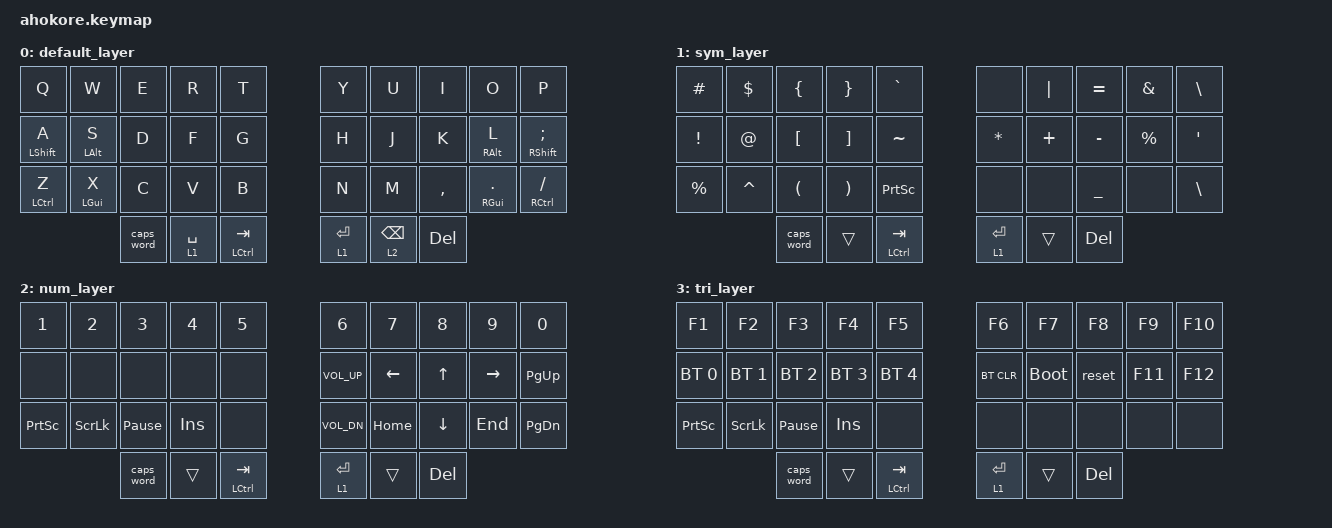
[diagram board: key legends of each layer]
/*
 * Copyright (c) 2020 The ZMK Contributors
 *
 * SPDX-License-Identifier: MIT
 */

#include <behaviors.dtsi>
#include <dt-bindings/zmk/keys.h>
#include <dt-bindings/zmk/bt.h>

/ {

    conditional_layers {
        compatible = "zmk,conditional-layers";
        tri_layer {
            if-layers = <1 2>;
            then-layer = <3>;
        };
    };

    behaviors {
        hm: homerow_mods {
            compatible = "zmk,behavior-hold-tap";
            label = "HOMEROW_MODS";
            #binding-cells = <2>;
            tapping_term_ms = <300>;
            flavor = "tap-preferred";
            bindings = <&kp>, <&kp>;
        };

        th: thumb_layers {
            compatible = "zmk,behavior-hold-tap";
            label = "THUMB_LAYERS";
            #binding-cells = <2>;
            tapping_term_ms = <300>;
            flavor = "tap-preferred";
            bindings = <&kp>, <&mo>;
            quick-tap-ms = <200>;
        };

        combos {
            // ,-----------------------------.      ,-----------------------------.
            // |     |    Esc    |     |     |      |     |     |   Eql     |     |
            // |-----+-----+-----+-Up--+VolU-|      |-------Up--------------------|
            // |     |    Tab   Lft   Rgt    |      |    Lft   Rgt  Mins    |     |
            // |-----+-----+-----+-Dwn-+VolD-+      |-Quot--Dwn-------------------|
            // |     |    Undo   |     |     |      |    Quot   |   Unds    |     |
            // `-----+-----+-----+-----+-----'      `-----------------------------'
            compatible = "zmk,combos";

            combo_esc {
                timeout-ms = <30>;
                key-positions = <1 2>;
                bindings = <&kp ESC>;
                layers = <0>;
            };

            combo_tab {
                timeout-ms = <30>;
                key-positions = <11 12>;
                bindings = <&kp TAB>;
                layers = <0>;
            };

            combo_undo {
                timeout-ms = <30>;
                key-positions = <21 22>;
                bindings = <&kp LC(Z)>;
                layers = <0>;
            };

            combo_vol_up {
                timeout-ms = <30>;
                key-positions = <4 14>;
                bindings = <&kp C_VOL_UP>;
                layers = <0>;
            };

            combo_vol_down {
                timeout-ms = <30>;
                key-positions = <14 24>;
                bindings = <&kp C_VOL_DN>;
                layers = <0>;
            };

            combo_lh_left {
                timeout-ms = <30>;
                key-positions = <12 13>;
                bindings = <&kp LEFT>;
                layers = <0>;
            };

            combo_lh_right {
                timeout-ms = <30>;
                key-positions = <13 14>;
                bindings = <&kp RIGHT>;
                layers = <0>;
            };

            combo_lh_up {
                timeout-ms = <30>;
                key-positions = <3 13>;
                bindings = <&kp UP>;
                layers = <0>;
            };

            combo_lh_down {
                timeout-ms = <30>;
                key-positions = <13 23>;
                bindings = <&kp DOWN>;
                layers = <0>;
            };

            combo_rh_left {
                timeout-ms = <30>;
                key-positions = <15 16>;
                bindings = <&kp LEFT>;
                layers = <0>;
            };

            combo_rh_right {
                timeout-ms = <30>;
                key-positions = <16 17>;
                bindings = <&kp RIGHT>;
                layers = <0>;
            };

            combo_rh_up {
                timeout-ms = <30>;
                key-positions = <6 16>;
                bindings = <&kp UP>;
                layers = <0>;
            };

            combo_rh_down {
                timeout-ms = <30>;
                key-positions = <16 26>;
                bindings = <&kp DOWN>;
                layers = <0>;
            };

            combo_equal {
                timeout-ms = <30>;
                key-positions = <7 8>;
                bindings = <&kp EQUAL>;
                layers = <0>;
            };

            combo_minus {
                timeout-ms = <30>;
                key-positions = <17 18>;
                bindings = <&kp MINUS>;
                layers = <0>;
            };

            combo_underscore {
                timeout-ms = <30>;
                key-positions = <27 28>;
                bindings = <&kp UNDER>;
                layers = <0>;
            };

            combo_quote_1 {
                timeout-ms = <30>;
                key-positions = <18 19>;
                bindings = <&kp SQT>;
                layers = <0>;
            };

            // Legacy
            combo_quote_2 {
                timeout-ms = <30>;
                key-positions = <15 25>;
                bindings = <&kp SQT>;
                layers = <0>;
            };
            
        };
    };

    keymap {
        compatible = "zmk,keymap";

        default_layer {
            // -----------------------------------------------------------------------------------------
            // |  Q  |  W  |  E  |  R  |  T  |  Y  |  U   |  I  |  O  |  P  |
            // |  A  |  S  |  D  |  F  |  G  |  H  |  J   |  K  |  L  |  ;  |
            // |  Z  |  X  |  C  |  V  |  B  |  N  |  M   |  ,  |  .  |  /  |
            //             | CTL | SPC | TAB | RET | BSPC | DEL |

            bindings = <
                &kp Q           &kp W       &kp E       &kp R       &kp T           &kp Y       &kp U       &kp I       &kp O           &kp P
                &hm LSHFT A     &hm LALT S  &kp D       &kp F       &kp G           &kp H       &kp J       &kp K       &hm RALT L      &hm RSHFT SEMI
                &hm LCTRL Z     &hm LGUI X  &kp C       &kp V       &kp B           &kp N       &kp M       &kp COMMA   &hm RGUI DOT    &hm RCTRL FSLH
                                            &caps_word  &lt 1 SPC   &hm LCTRL TAB   &lt 1 RET   &lt 2 BSPC  &kp DEL
            >;
        };
        
        sym_layer {
            // -----------------------------------------------------------------------------------------
            // |  #  |  $  |  {  |  }  |  `  |     |  |  |  =  |  &  |  \  |
            // |  !  |  @  |  (  |  )  |  ~  |  *  |  +  |  -  |  %  |  '  |
            // |  %  |  ^  |  [  |  ]  |PSCRN|     |     |  _  |     |  \  |
            //             | CTL |     | TAB | SPC |     | DEL |
            bindings = <
                &kp HASH        &kp DLLR    &kp LBRC    &kp RBRC    &kp GRAVE       &none       &kp PIPE    &kp EQUAL   &kp AMPS    &kp BSLH
                &kp EXCL        &kp AT      &kp LBKT    &kp RBKT    &kp TILDE       &kp STAR    &kp PLUS    &kp MINUS   &kp PRCNT   &kp SQT
                &kp PRCNT       &kp CARET   &kp LPAR    &kp RPAR    &kp PSCRN       &none       &none       &kp UNDER   &none       &kp BSLH
                                            &caps_word  &trans      &hm LCTRL TAB   &lt 1 RET   &trans      &kp DEL
            >;
        };

        num_layer {
            // -----------------------------------------------------------------------------------------
            // |     |  7  |  8  |  9  |     |      |      |  UP  |       |      |
            // |  0  |  4  |  5  |  6  |  .  | PGUP | LEFT | DOWN | RIGHT | PGUP |
            // |     |  1  |  2  |  3  |     | PGDN | HOME | MENU |  END  | PGDN |
            //             | CTL |     | TAB |  SPC |      |  DEL |
            bindings=<
                &kp N1          &kp N2      &kp N3      &kp N4      &kp N5          &kp N6         &kp N7      &kp N8      &kp N9      &kp N0
                &none           &none       &none       &none       &none           &kp C_VOL_UP   &kp LEFT    &kp UP      &kp RIGHT   &kp PG_UP
                &kp PSCRN       &kp SLCK    &kp PAUSE_BREAK &kp INS &none           &kp C_VOL_DN   &kp HOME    &kp DOWN    &kp END     &kp PG_DN
                                            &caps_word  &trans      &hm LCTRL TAB   &lt 1 RET      &trans      &kp DEL
            >;
        };

        tri_layer {
            // -----------------------------------------------------------------------------------------
            // | BT0 | BT1 | BT2 | BT3 | BT4 |     |  F7  |  F8  |  F9  |  F10  |
            // |RESET|BOOT |     |     |BTCLR|RESET|  F4  |  F5  |  F6  |  F11  |
            // |PSCRN|SLCK |PSBRK| INS |     |     |  F1  |  F2  |  F3  |  F12  |
            //             | CTL |     | TAB | SPC |      |  DEL |
            bindings=<
                &kp F1          &kp F2          &kp F3          &kp F4          &kp F5              &kp F6          &kp F7      &kp F8      &kp F9      &kp F10
                &bt BT_SEL 0    &bt BT_SEL 1    &bt BT_SEL 2    &bt BT_SEL 3    &bt BT_SEL 4        &bt BT_CLR      &bootloader &reset      &kp F11     &kp F12
                &kp PSCRN       &kp SLCK        &kp PAUSE_BREAK &kp INS         &none               &none           &none       &none       &none       &none
                                                &caps_word      &trans          &hm LCTRL TAB       &lt 1 RET       &trans      &kp DEL
            >;
        };
    };

};
